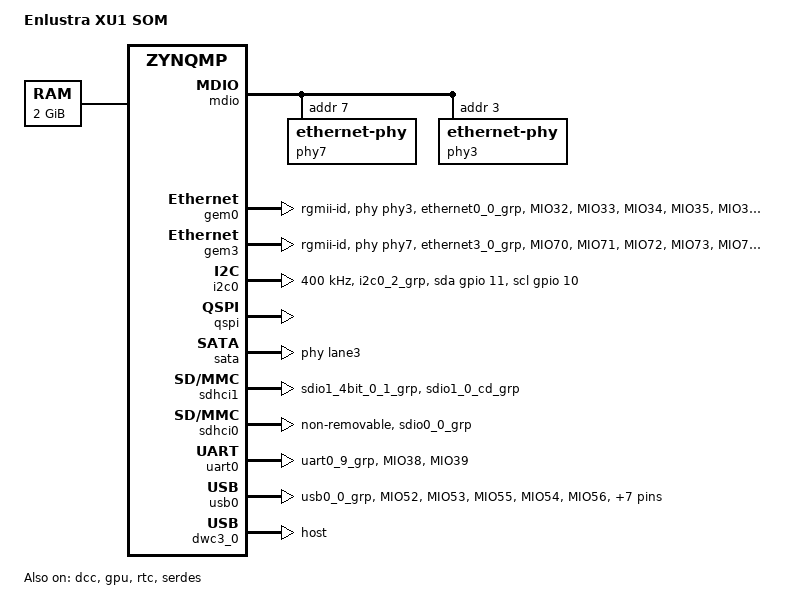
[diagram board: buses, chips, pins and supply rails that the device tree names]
/*
 * dts file for Enclustra XU1 SOM
 *
 * (C) Copyright 2015, Xilinx, Inc.
 * (C) Copyright 2016, Antmicro Ltd
 *
 * This program is free software; you can redistribute it and/or
 * modify it under the terms of the GNU General Public License as
 * published by the Free Software Foundation; either version 2 of
 * the License, or (at your option) any later version.
 */

/dts-v1/;

#include "zynqmp.dtsi"
#include "zynqmp-clk-ccf.dtsi"
#include "zynq-enclustra-qspi64-parts.dtsi"
#include <dt-bindings/gpio/gpio.h>
#include <dt-bindings/pinctrl/pinctrl-zynqmp.h>
#include <dt-bindings/phy/phy.h>

/ {
	model = "Enlustra XU1 SOM";
	compatible = "xlnx,zynqmp";

	aliases {
		ethernet0 = &gem0;
		ethernet1 = &gem3;
		gpio0 = &gpio;
		i2c0 = &i2c0;
		mmc0 = &sdhci1;
		mmc1 = &sdhci0;
		rtc0 = &rtc;
		serial0 = &uart0;
		serial1 = &uart1;
		serial2 = &dcc;
		spi0 = &qspi;
		usb0 = &usb0;
	};

	chosen {
		bootargs = "earlycon";
		stdout-path = "serial0:115200n8";
	};

	memory {
		device_type = "memory";
		reg = <0x0 0x0 0x0 0x80000000>;
	};

	mdio {
		compatible = "cdns,macb-mdio";
		reg = <0x0 0xff0b0000 0x0 0x1000>;
		clocks =  <&clkc 45>, <&clkc 45>, <&clkc 49>;
		clock-names = "pclk", "tx_clk", "hclk";
		#address-cells = <1>;
		#size-cells = <0>;
		phy7: ethernet-phy@7 {
			reg = <7>;
		};
		phy3: ethernet-phy@3 {
			reg = <3>;
		};
	};
};

&fclk0 {
	status = "okay";
};

&fclk1 {
	status = "okay";
};

&dcc {
	status = "okay";
};

/* fpd_dma clk 667MHz, lpd_dma 500MHz */
&fpd_dma_chan1 {
	status = "okay";
	xlnx,include-sg; /* for testing purpose */
	xlnx,overfetch; /* for testing purpose */
	xlnx,ratectrl = <0>; /* for testing purpose */
	xlnx,src-issue = <31>;
};

&fpd_dma_chan2 {
	status = "okay";
	xlnx,ratectrl = <100>; /* for testing purpose */
	xlnx,src-issue = <4>; /* for testing purpose */
};

&fpd_dma_chan3 {
	status = "okay";
};

&fpd_dma_chan4 {
	status = "okay";
	xlnx,include-sg; /* for testing purpose */
};

&fpd_dma_chan5 {
	status = "okay";
};

&fpd_dma_chan6 {
	status = "okay";
	xlnx,include-sg; /* for testing purpose */
};

&fpd_dma_chan7 {
	status = "okay";
};

&fpd_dma_chan8 {
	status = "okay";
	xlnx,include-sg; /* for testing purpose */
};

&gem0 {
	status = "okay";
	local-mac-address = [00 0a 35 00 02 90];
	phy-mode = "rgmii-id";
	phy-handle = <&phy3>;
	pinctrl-names = "default";
	pinctrl-0 = <&pinctrl_gem0_default>;
};

&gem3 {
	status = "okay";
	local-mac-address = [00 0a 35 00 02 91];
	phy-mode = "rgmii-id";
	phy-handle = <&phy7>;
	pinctrl-names = "default";
	pinctrl-0 = <&pinctrl_gem3_default>;
};

&gpio {
	status = "okay";
};

&gpu {
	status = "okay";
};

&i2c0 {
	status = "okay";
	clock-frequency = <400000>;
	pinctrl-names = "default", "gpio";
	pinctrl-0 = <&pinctrl_i2c0_default>;
	pinctrl-1 = <&pinctrl_i2c0_gpio>;
	scl-gpios = <&gpio 10 GPIO_ACTIVE_HIGH>;
	sda-gpios = <&gpio 11 GPIO_ACTIVE_HIGH>;
};

&pcie {
/*	status = "okay"; */
};

&qspi {
	status = "okay";
	is-dual = <0>;
};

&rtc {
	status = "okay";
};

&sata {
	status = "okay";
	/* SATA OOB timing settings */
	ceva,p0-cominit-params = /bits/ 8 <0x18 0x40 0x18 0x28>;
	ceva,p0-comwake-params = /bits/ 8 <0x06 0x14 0x08 0x0E>;
	ceva,p0-burst-params = /bits/ 8 <0x13 0x08 0x4A 0x06>;
	ceva,p0-retry-params = /bits/ 16 <0x96A4 0x3FFC>;
	ceva,p1-cominit-params = /bits/ 8 <0x18 0x40 0x18 0x28>;
	ceva,p1-comwake-params = /bits/ 8 <0x06 0x14 0x08 0x0E>;
	ceva,p1-burst-params = /bits/ 8 <0x13 0x08 0x4A 0x06>;
	ceva,p1-retry-params = /bits/ 16 <0x96A4 0x3FFC>;
	phy-names = "sata-phy";
	phys = <&lane3 PHY_TYPE_SATA 1 1 125000000>;
};

/* SD1 with level shifter */
&sdhci1 {
	status = "okay";
	pinctrl-names = "default";
	pinctrl-0 = <&pinctrl_sdhci1_default>;
	no-1-8-v;	/* for 1.0 silicon */
	wp-inverted;
	xlnx,mio_bank = <1>;
};

&sdhci0 {
	status = "okay";
	pinctrl-names = "default";
	pinctrl-0 = <&pinctrl_sdhci0_default>;
	no-1-8-v;	/* for 1.0 silicon */
	non-removable;
	disable-wp;
	xlnx,mio_bank = <0>;
};

&serdes {
	status = "okay";
};

&uart0 {
	status = "okay";
	pinctrl-names = "default";
	pinctrl-0 = <&pinctrl_uart0_default>;
};

&uart1 {
	status = "disabled";
	pinctrl-names = "default";
	pinctrl-0 = <&pinctrl_uart1_default>;
};

/* ULPI SMSC USB3320 */
&usb0 {
	status = "okay";
	pinctrl-names = "default";
	pinctrl-0 = <&pinctrl_usb0_default>;
};

&dwc3_0 {
	status = "okay";
	dr_mode = "host";
	maximum-speed = "high-speed";
};

&pinctrl0 {
	status = "okay";

	pinctrl_i2c0_default: i2c0-default {
		mux {
			groups = "i2c0_2_grp";
			function = "i2c0";
		};

		conf {
			groups = "i2c0_2_grp";
			bias-pull-up;
			slew-rate = <SLEW_RATE_SLOW>;
			io-standard = <IO_STANDARD_LVCMOS18>;
		};
	};

	pinctrl_i2c0_gpio: i2c0-gpio {
		mux {
			groups = "gpio0_10_grp", "gpio0_11_grp";
			function = "gpio0";
		};

		conf {
			groups = "gpio0_10_grp", "gpio0_11_grp";
			slew-rate = <SLEW_RATE_SLOW>;
			io-standard = <IO_STANDARD_LVCMOS18>;
		};
	};

	pinctrl_uart0_default: uart0-default {
		mux {
			groups = "uart0_9_grp";
			function = "uart0";
		};

		conf {
			groups = "uart0_9_grp";
			slew-rate = <SLEW_RATE_SLOW>;
			io-standard = <IO_STANDARD_LVCMOS18>;
		};

		conf-rx {
			pins = "MIO38";
			bias-high-impedance;
		};

		conf-tx {
			pins = "MIO39";
			bias-disable;
		};
	};

	pinctrl_uart1_default: uart1-default {
		mux {
			groups = "uart1_6_grp";
			function = "uart1";
		};

		conf {
			groups = "uart1_6_grp";
			slew-rate = <SLEW_RATE_SLOW>;
			io-standard = <IO_STANDARD_LVCMOS18>;
		};

		conf-rx {
			pins = "MIO25";
			bias-high-impedance;
		};

		conf-tx {
			pins = "MIO24";
			bias-disable;
		};
	};

	pinctrl_usb0_default: usb0-default {
		mux {
			groups = "usb0_0_grp";
			function = "usb0";
		};

		conf {
			groups = "usb0_0_grp";
			slew-rate = <SLEW_RATE_SLOW>;
			io-standard = <IO_STANDARD_LVCMOS18>;
		};

		conf-rx {
			pins = "MIO52", "MIO53", "MIO55";
			bias-high-impedance;
		};

		conf-tx {
			pins = "MIO54", "MIO56", "MIO57", "MIO58", "MIO59",
				   "MIO60", "MIO61", "MIO62", "MIO63";
			bias-disable;
		};
	};

	pinctrl_gem3_default: gem3-default {
		mux {
			function = "ethernet3";
			groups = "ethernet3_0_grp";
		};

		conf {
			groups = "ethernet3_0_grp";
			slew-rate = <SLEW_RATE_SLOW>;
			io-standard = <IO_STANDARD_LVCMOS18>;
		};

		conf-rx {
			pins = "MIO70", "MIO71", "MIO72", "MIO73", "MIO74",
									"MIO75";
			bias-high-impedance;
			low-power-disable;
		};

		conf-tx {
			pins = "MIO64", "MIO65", "MIO66", "MIO67", "MIO68",
									"MIO69";
			bias-disable;
			low-power-enable;
		};
	};

	pinctrl_gem0_default: gem0-default {
		mux {
			function = "ethernet0";
			groups = "ethernet0_0_grp";
		};

		conf {
			groups = "ethernet0_0_grp";
			slew-rate = <SLEW_RATE_SLOW>;
			io-standard = <IO_STANDARD_LVCMOS18>;
		};

		conf-rx {
			pins = "MIO32", "MIO33", "MIO34", "MIO35", "MIO36",
									"MIO37";
			bias-high-impedance;
			low-power-disable;
		};

		conf-tx {
			pins = "MIO26", "MIO27", "MIO28", "MIO29", "MIO30",
									"MIO31";
			bias-disable;
			low-power-enable;
		};
	};

	pinctrl_sdhci0_default: sdhci0-default {
		mux {
			groups = "sdio0_0_grp";
			function = "sdio0";
		};

		conf {
			groups = "sdio0_0_grp";
			slew-rate = <SLEW_RATE_SLOW>;
			io-standard = <IO_STANDARD_LVCMOS18>;
			bias-disable;
		};
	};

	pinctrl_sdhci1_default: sdhci1-default {
		mux {
			groups = "sdio1_4bit_0_1_grp";
			function = "sdio1";
		};

		conf {
			groups = "sdio1_4bit_0_1_grp";
			slew-rate = <SLEW_RATE_SLOW>;
			io-standard = <IO_STANDARD_LVCMOS18>;
			bias-disable;
		};

		mux-cd {
			groups = "sdio1_0_cd_grp";
			function = "sdio1_cd";
		};

		conf-cd {
			groups = "sdio1_0_cd_grp";
			bias-high-impedance;
			bias-pull-up;
			slew-rate = <SLEW_RATE_SLOW>;
			io-standard = <IO_STANDARD_LVCMOS18>;
		};

	};
};
